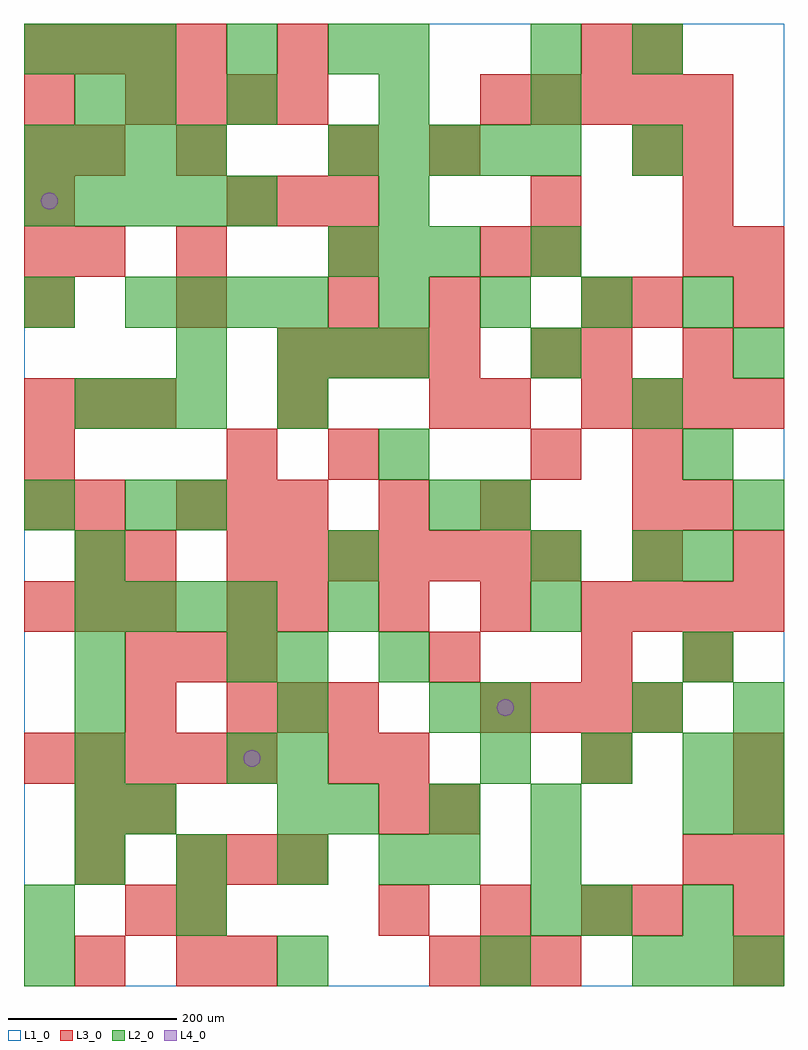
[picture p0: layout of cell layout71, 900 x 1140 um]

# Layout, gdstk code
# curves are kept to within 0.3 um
import gdstk
lib = gdstk.Library(unit=1e-6, precision=1e-09)
def R(c, l, rs):  # rectangles x0, y0, x1, y1
    for r in rs: c.add(gdstk.rectangle(r[:2], r[2:], *l))
def A(c, l, x, y, w, h, nx, ny, dx, dy):  # array of equal rectangles
    R(c, l, [(x+i*dx, y+j*dy, x+i*dx+w, y+j*dy+h) for i in range(nx) for j in range(ny)])
def P(c, l, *ps):  # polygons
    for p in ps: c.add(gdstk.Polygon(p, *l))
L1_0 = (1, 0)
L2_0 = (2, 0)
L3_0 = (3, 0)
L4_0 = (4, 0)

layout71 = lib.new_cell('layout71')
R(layout71, L1_0, [(0,0,900,1140)])
A(layout71, L2_0, 720, 0, 60, 60, 3, 1, 60, 0)
A(layout71, L2_0, 60, 120, 60, 60, 4, 1, 120, 0)
A(layout71, L2_0, 60, 180, 60, 60, 1, 4, 0, 60)
A(layout71, L2_0, 300, 180, 60, 60, 1, 4, 0, 60)
A(layout71, L2_0, 360, 180, 60, 60, 3, 1, 120, 0)
A(layout71, L2_0, 840, 180, 60, 60, 1, 3, 0, 60)
A(layout71, L2_0, 540, 240, 60, 60, 3, 1, 120, 0)
A(layout71, L2_0, 720, 300, 60, 60, 1, 3, 0, 180)
A(layout71, L2_0, 780, 360, 60, 60, 1, 3, 0, 120)
A(layout71, L2_0, 60, 420, 60, 60, 4, 1, 60, 0)
A(layout71, L2_0, 60, 660, 60, 60, 3, 1, 60, 0)
A(layout71, L2_0, 300, 720, 60, 60, 3, 1, 60, 0)
A(layout71, L2_0, 120, 780, 60, 60, 4, 1, 60, 0)
A(layout71, L2_0, 420, 780, 60, 60, 4, 1, 120, 0)
A(layout71, L2_0, 360, 840, 60, 60, 3, 1, 60, 0)
A(layout71, L2_0, 0, 900, 60, 60, 5, 1, 60, 0)
A(layout71, L2_0, 0, 960, 60, 60, 4, 1, 60, 0)
A(layout71, L2_0, 360, 960, 60, 60, 5, 1, 60, 0)
A(layout71, L2_0, 240, 1020, 60, 60, 3, 1, 180, 0)
A(layout71, L2_0, 0, 1080, 60, 60, 3, 1, 60, 0)
R(layout71, L2_0, [(0,0,60,60), (300,0,360,60), (540,0,600,60), (0,60,60,120), (180,60,240,120), (600,60,660,120), (660,60,720,120), (780,60,840,120), (480,120,540,180), (600,120,660,180), (120,180,180,240), (780,180,840,240), (240,240,300,300), (480,300,540,360), (540,300,600,360), (240,360,300,420), (420,360,480,420), (360,420,420,480), (600,420,660,480), (60,480,120,540), (360,480,420,540), (600,480,660,540), (0,540,60,600), (120,540,180,600), (180,540,240,600), (480,540,540,600), (540,540,600,600), (840,540,900,600), (420,600,480,660), (300,660,360,720), (180,720,240,780), (600,720,660,780), (840,720,900,780), (0,780,60,840), (600,840,660,900), (420,900,480,960), (720,960,780,1020), (60,1020,120,1080), (120,1020,180,1080), (240,1080,300,1140), (360,1080,420,1140), (420,1080,480,1140), (600,1080,660,1140), (720,1080,780,1140)])
A(layout71, L3_0, 480, 0, 60, 60, 3, 1, 60, 0)
A(layout71, L3_0, 840, 0, 60, 60, 1, 5, 0, 60)
A(layout71, L3_0, 120, 60, 60, 60, 1, 3, 0, 120)
A(layout71, L3_0, 420, 60, 60, 60, 3, 1, 120, 0)
A(layout71, L3_0, 180, 120, 60, 60, 3, 2, 60, 420)
A(layout71, L3_0, 0, 240, 60, 60, 5, 1, 60, 0)
A(layout71, L3_0, 360, 240, 60, 60, 1, 3, 0, 360)
A(layout71, L3_0, 240, 300, 60, 60, 3, 2, 60, 600)
A(layout71, L3_0, 540, 300, 60, 60, 4, 1, 60, 0)
A(layout71, L3_0, 120, 360, 60, 60, 3, 1, 60, 0)
A(layout71, L3_0, 780, 360, 60, 60, 1, 3, 0, 180)
A(layout71, L3_0, 0, 420, 60, 60, 3, 2, 60, 240)
A(layout71, L3_0, 300, 420, 60, 60, 4, 1, 120, 0)
A(layout71, L3_0, 720, 420, 60, 60, 3, 1, 60, 0)
A(layout71, L3_0, 240, 480, 60, 60, 7, 1, 60, 0)
A(layout71, L3_0, 720, 480, 60, 60, 1, 3, 0, 60)
A(layout71, L3_0, 600, 600, 60, 60, 1, 3, 0, 120)
A(layout71, L3_0, 660, 660, 60, 60, 4, 1, 60, 0)
A(layout71, L3_0, 300, 720, 60, 60, 4, 1, 60, 0)
A(layout71, L3_0, 0, 780, 60, 60, 3, 1, 180, 0)
A(layout71, L3_0, 0, 840, 60, 60, 1, 4, 0, 60)
A(layout71, L3_0, 180, 840, 60, 60, 3, 1, 180, 0)
A(layout71, L3_0, 780, 840, 60, 60, 1, 3, 0, 60)
A(layout71, L3_0, 120, 1020, 60, 60, 4, 1, 60, 0)
A(layout71, L3_0, 540, 1020, 60, 60, 5, 1, 60, 0)
A(layout71, L3_0, 0, 1080, 60, 60, 4, 1, 60, 0)
R(layout71, L3_0, [(60,0,120,60), (180,0,240,60), (240,0,300,60), (180,60,240,120), (720,60,780,120), (60,120,120,180), (780,120,840,180), (60,180,120,240), (420,180,480,240), (480,180,540,240), (420,240,480,300), (660,240,720,300), (480,360,540,420), (660,360,720,420), (240,420,300,480), (60,480,120,540), (120,480,180,540), (840,480,900,540), (0,540,60,600), (60,540,120,600), (420,540,480,600), (540,540,600,600), (0,600,60,660), (240,600,300,660), (300,660,360,720), (480,660,540,720), (540,660,600,720), (660,720,720,780), (480,780,540,840), (660,780,720,840), (720,780,780,840), (840,780,900,840), (60,840,120,900), (840,840,900,900), (600,900,660,960), (60,960,120,1020), (180,960,240,1020), (480,960,540,1020), (720,960,780,1020), (300,1080,360,1140), (660,1080,720,1140), (720,1080,780,1140)])
P(layout71, L4_0, [(40,930),(39.239,933.827),(37.071,937.071),(33.827,939.239),(30,940),(26.173,939.239),(22.929,937.071),(20.761,933.827),(20,930),(20.761,926.173),(22.929,922.929),(26.173,920.761),(30,920),(33.827,920.761),(37.071,922.929),(39.239,926.173)],
  [(280,270),(279.239,273.827),(277.071,277.071),(273.827,279.239),(270,280),(266.173,279.239),(262.929,277.071),(260.761,273.827),(260,270),(260.761,266.173),(262.929,262.929),(266.173,260.761),(270,260),(273.827,260.761),(277.071,262.929),(279.239,266.173)],
  [(580,330),(579.239,333.827),(577.071,337.071),(573.827,339.239),(570,340),(566.173,339.239),(562.929,337.071),(560.761,333.827),(560,330),(560.761,326.173),(562.929,322.929),(566.173,320.761),(570,320),(573.827,320.761),(577.071,322.929),(579.239,326.173)])

lib.write_gds('layout71.gds')
